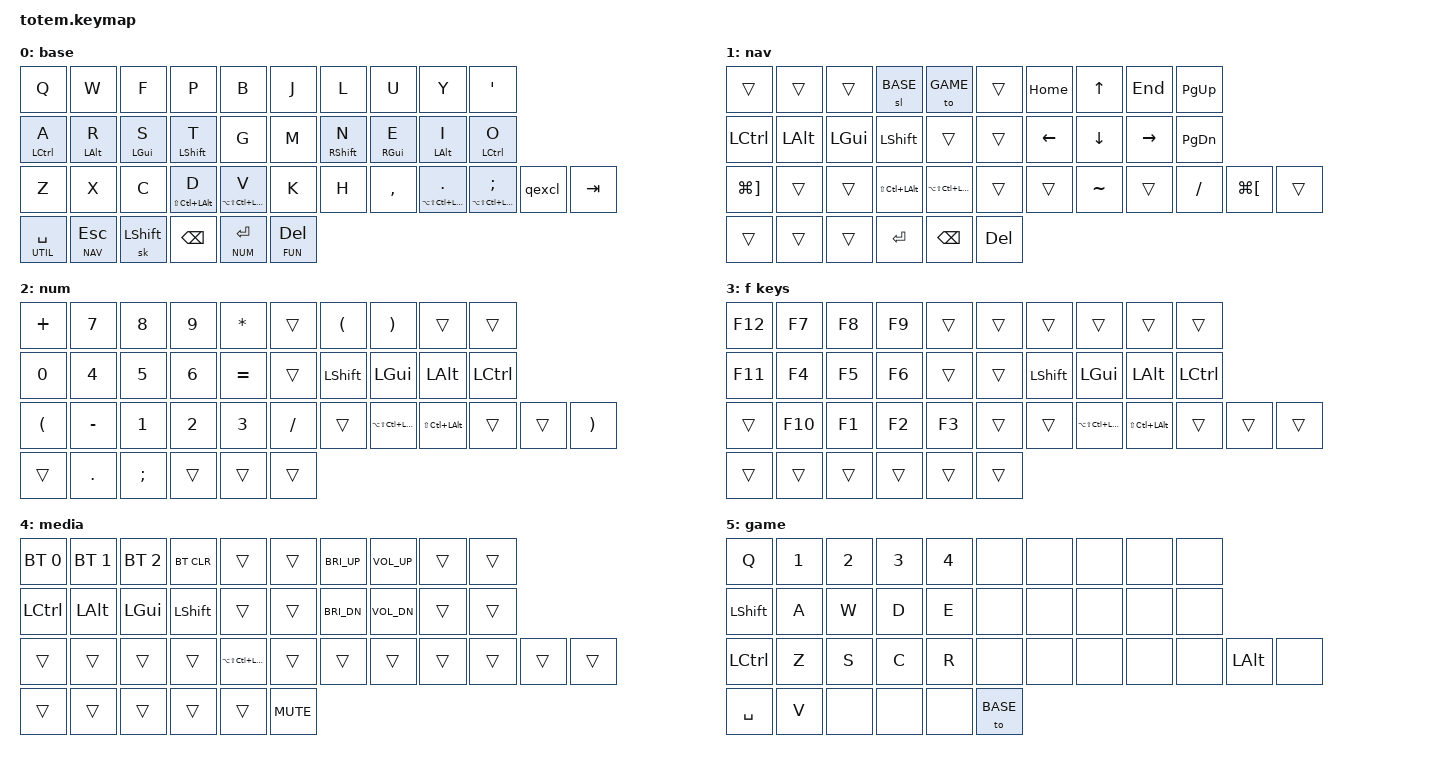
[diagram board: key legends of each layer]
// Copyright (c) 2022 The ZMK Contributors
// SPDX-License-Identifier: MIT

#include "zmk-nodefree-config/helper.h"
#include "zmk-nodefree-config/keypos_def/keypos_38keys.h"
#include <behaviors.dtsi>
#include <dt-bindings/zmk/keys.h>
#include <dt-bindings/zmk/bt.h>

#define XXX &none
#define TODO ___
#define ___ &trans

#define BASE 0
#define NAV 1
#define NUM 2
#define FUN 3
#define UTIL 4
#define GAME 5

#include "combos.dtsi"

// navigation bindings for back/forward and prev tab/next tab
#define BACK &kp LG(LBKT)
#define FWD &kp LG(RBKT)

// hyper and meh keys
#define HYP LS(LC(LA(LGUI)))
#define MEH LS(LC(LALT))

/* ------------------------ general config ----------------------- */

#define QUICK_TAP_MS 175

// smart-layer config
&caps_word {  
    // /delete-property/ ignore-modifiers; // mods deactivate, requires PR #1451
    /delete-property/ ignore-numbers;
    continue-list = <BACKSPACE ENTER DELETE UNDERSCORE MINUS>;
};

// key-repeat config
&key_repeat {
    usage-pages = <HID_USAGE_KEY HID_USAGE_CONSUMER>; // repeat all keys
};

// sticky key aka 'one-shot mods'
&sk {
    release-after-ms = <2000>;
    quick-release;
};

// default layer-tap config
&lt {  
    flavor = "balanced";
    tapping-term-ms = <200>;
    quick-tap-ms = <QUICK_TAP_MS>;
};

#define KEYS_L LT0 LT1 LT2 LT3 LT4 LM0 LM1 LM2 LM3 LM4 LB0 LB1 LB2 LB3 LB4  // left hand
#define KEYS_R RT0 RT1 RT2 RT3 RT4 RM0 RM1 RM2 RM3 RM4 RB0 RB1 RB2 RB3 RB4  // right hand
#define THUMBS LH2 LH1 LH0 RH0 RH1 RH2                                      // thumbs

#define MAKE_HRM(NAME, HOLD, TAP, TRIGGER_POS) \
    ZMK_BEHAVIOR(NAME, hold_tap, \
        flavor = "balanced"; \
        tapping-term-ms = <280>; \
        quick-tap-ms = <QUICK_TAP_MS>; \
        require-prior-idle-ms = <150>; \
        bindings = <HOLD>, <TAP>; \
        hold-trigger-key-positions = <TRIGGER_POS>; \
        hold-trigger-on-release; \
    )
MAKE_HRM(hml, &kp, &kp, KEYS_R THUMBS)  // left-hand HRMs
MAKE_HRM(hmr, &kp, &kp, KEYS_L THUMBS)  // right-hand HRMs

// special HRMs for the right meh key, as it involves a modmorph
MAKE_HRM(hmr_meh, &kp, &comma_morph, KEYS_L THUMBS)
// MAKE_HRM(hmr_lpar, &kp, &lpar, KEYS_L THUMBS)    // "    "   "   "
// MAKE_HRM(hmr_rpar, &kp, &rpar, KEYS_L THUMBS)    // "    "   "   "

// mod_morph keys
// tap: qmark | shift + tap: excl
ZMK_BEHAVIOR(qexcl, mod_morph,
    bindings = <&kp QMARK>, <&kp EXCL>;
    mods = <(MOD_LSFT|MOD_RSFT)>;
)

// tap: comma | shift + tap: semicolon 
ZMK_BEHAVIOR(comma_morph, mod_morph,
    bindings = <&kp COMMA>, <&kp SEMICOLON>;
    mods = <(MOD_LSFT|MOD_RSFT)>;
)

// tap: dot | shift + tap: colon 
ZMK_BEHAVIOR(dot_morph, mod_morph,
    bindings = <&kp DOT>, <&kp COLON>;
    mods = <(MOD_LSFT|MOD_RSFT)>;
)


// Layer bindings reconstructed from the saved Studio capture.
// Behavior definitions and combos are retained from the dongle branch.
/ {
    keymap {
        compatible = "zmk,keymap";

        layer_0 {
            display-name = "base";
            bindings = <
                /* Top: left / right */
                &kp Q                     &kp W                     &kp F                     &kp P                     &kp B                       &kp J  &kp L  &kp U  &kp Y  &kp SQT
                /* Home: left / right */
                &hml LCTRL A              &hml LALT R               &hml LGUI S               &hml LSHFT T              &kp G                       &kp M  &hmr RSHFT N  &hmr RGUI E  &hmr LALT I  &hml LCTRL O
                /* Bottom: left / right (includes outer keys) */
                &kp Z                     &kp X                     &kp C                     &hml LS(LC(LALT)) D       &hml LA(LS(LC(LGUI))) V   &kp K                       &kp H  &kp COMMA  &hml LA(LS(LC(LALT))) DOT  &hml LA(LS(LC(LGUI))) SEMI  &qexcl  &kp TAB
                /* Thumbs: left / right */
                &lt UTIL SPACE            &lt NAV ESC               &sk LSHFT                   &kp BSPC  &lt NUM RET  &lt FUN DEL
            >;
        };

        layer_1 {
            display-name = "nav";
            bindings = <
                /* Top: left / right */
                &trans                    &trans                    &trans                    &sl BASE                  &to GAME                    &trans  &kp HOME  &kp UP  &kp END  &kp PG_UP
                /* Home: left / right */
                &kp LCTRL                 &kp LALT                  &kp LGUI                  &kp LSHFT                 &trans                      &trans  &kp LEFT  &kp DOWN  &kp RIGHT  &kp PG_DN
                /* Bottom: left / right (includes outer keys) */
                &kp LG(RBKT)              &trans                    &trans                    &kp LS(LC(LALT))          &kp LA(LS(LC(LGUI)))      &trans                      &trans  &kp TILDE  &trans  &kp FSLH  &kp LG(LBKT)  &trans
                /* Thumbs: left / right */
                &trans                    &trans                    &trans                      &kp RET  &kp BSPC  &kp DEL
            >;
        };

        layer_2 {
            display-name = "num";
            bindings = <
                /* Top: left / right */
                &kp PLUS                  &kp N7                    &kp N8                    &kp N9                    &kp STAR                    &trans  &kp LPAR  &kp RPAR  &trans  &trans
                /* Home: left / right */
                &kp N0                    &kp N4                    &kp N5                    &kp N6                    &kp EQUAL                   &trans  &kp LSHFT  &kp LGUI  &kp LALT  &kp LCTRL
                /* Bottom: left / right (includes outer keys) */
                &kp LPAR                  &kp MINUS                 &kp N1                    &kp N2                    &kp N3                    &kp FSLH                    &trans  &kp LA(LS(LC(LGUI)))  &kp LS(LC(LALT))  &trans  &trans  &kp RPAR
                /* Thumbs: left / right */
                &trans                    &kp DOT                   &kp SEMI                    &trans  &trans  &trans
            >;
        };

        layer_3 {
            display-name = "f keys";
            bindings = <
                /* Top: left / right */
                &kp F12                   &kp F7                    &kp F8                    &kp F9                    &trans                      &trans  &trans  &trans  &trans  &trans
                /* Home: left / right */
                &kp F11                   &kp F4                    &kp F5                    &kp F6                    &trans                      &trans  &kp LSHFT  &kp LGUI  &kp LALT  &kp LCTRL
                /* Bottom: left / right (includes outer keys) */
                &trans                    &kp F10                   &kp F1                    &kp F2                    &kp F3                    &trans                      &trans  &kp LA(LS(LC(LGUI)))  &kp LS(LC(LALT))  &trans  &trans  &trans
                /* Thumbs: left / right */
                &trans                    &trans                    &trans                      &trans  &trans  &trans
            >;
        };

        layer_4 {
            display-name = "media";
            bindings = <
                /* Top: left / right */
                &bt BT_SEL 0              &bt BT_SEL 1              &bt BT_SEL 2              &bt BT_CLR                &trans                      &trans  &kp C_BRI_UP  &kp C_VOL_UP  &trans  &trans
                /* Home: left / right */
                &kp LCTRL                 &kp LALT                  &kp LGUI                  &kp LSHFT                 &trans                      &trans  &kp C_BRI_DN  &kp C_VOL_DN  &trans  &trans
                /* Bottom: left / right (includes outer keys) */
                &trans                    &trans                    &trans                    &trans                    &kp LA(LS(LC(LGUI)))      &trans                      &trans  &trans  &trans  &trans  &trans  &trans
                /* Thumbs: left / right */
                &trans                    &trans                    &trans                      &trans  &trans  &kp C_MUTE
            >;
        };

        layer_5 {
            display-name = "game";
            bindings = <
                /* Top: left / right */
                &kp Q                     &kp N1                    &kp N2                    &kp N3                    &kp N4                      &none  &none  &none  &none  &none
                /* Home: left / right */
                &kp LSHFT                 &kp A                     &kp W                     &kp D                     &kp E                       &none  &none  &none  &none  &none
                /* Bottom: left / right (includes outer keys) */
                &kp LCTRL                 &kp Z                     &kp S                     &kp C                     &kp R                     &none                       &none  &none  &none  &none  &kp LALT  &none
                /* Thumbs: left / right */
                &kp SPACE                 &kp V                     &none                       &none  &none  &to BASE
            >;
        };

        spare_layer_1 {
            status = "reserved";
            bindings = <
                &none &none &none &none &none &none &none &none &none &none
                &none &none &none &none &none &none &none &none &none &none
                &none &none &none &none &none &none &none &none &none &none &none &none
                &none &none &none &none &none &none
            >;
        };

        spare_layer_2 {
            status = "reserved";
            bindings = <
                &none &none &none &none &none &none &none &none &none &none
                &none &none &none &none &none &none &none &none &none &none
                &none &none &none &none &none &none &none &none &none &none &none &none
                &none &none &none &none &none &none
            >;
        };

        spare_layer_3 {
            status = "reserved";
            bindings = <
                &none &none &none &none &none &none &none &none &none &none
                &none &none &none &none &none &none &none &none &none &none
                &none &none &none &none &none &none &none &none &none &none &none &none
                &none &none &none &none &none &none
            >;
        };

        spare_layer_4 {
            status = "reserved";
            bindings = <
                &none &none &none &none &none &none &none &none &none &none
                &none &none &none &none &none &none &none &none &none &none
                &none &none &none &none &none &none &none &none &none &none &none &none
                &none &none &none &none &none &none
            >;
        };


    };
};

    
/* --------------------------------- combos --------------------------------- */
/*
   ╭────────────────────┬────────────────────╮     ╭─────────────────────┬─────────────────────╮
   │  0   1   2   3   4 │  5   6   7   8   9 │     │ LT4 LT3 LT2 LT1 LT0 │ RT0 RT1 RT2 RT3 RT4 │
   │ 10  11  12  13  14 │ 15  16  17  18  19 │     │ LM4 LM3 LM2 LM1 LM0 │ RM0 RM1 RM2 RM3 RM4 │
  20 21  22  23  24  25 │ 26  27  28  29  30 31  LB5 LB4 LB3 LB2 LB1 LB0 │ RB0 RB1 RB2 RB3 RB4 RB5
   ╰───────╮ 32  33  34 │ 35  36  37 ╭───────╯     ╰───────╮ LH2 LH1 LH0 │ RH0 RH1 RH2 ╭───────╯
           ╰────────────┴────────────╯                     ╰─────────────┴─────────────╯             */
// use global-quick-tap-ms for combos (requires PR 1387)
